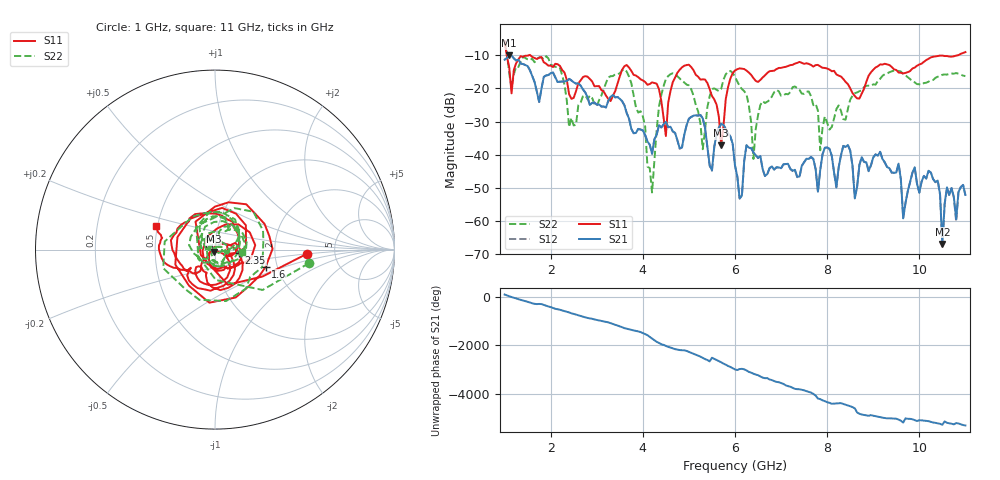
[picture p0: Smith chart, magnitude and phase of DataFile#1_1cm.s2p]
! MS46122B
! 1728301/71650013
! 6/21/2022 4:11:19 PM
! C:\USERS\MILLIWAVE\DESKTOP\XYSTAGE_PYTHON\DATA\IMAI\DATAFILE#1_1CM.S2P
! CHANNEL.1
! TR.MEASUREMENT
! CORRECTED.DATA
# GHZ S RI R 50.0
! FREQ.GHZ  S11RE  S11IM  S21RE  S21IM  S12RE  S12IM  S22RE  S22IM
!; PortSelection: Port_12
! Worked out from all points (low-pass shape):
!   201 points, 1 GHz to 11 GHz, reference 50 ohm
!   highest |S21| = -9.97 dB at 1.1 GHz (marker M1); lowest = -67.0 dB at 10.5 GHz (marker M2)
!   |S21| within 3 dB of the highest: start of sweep to 1.452 GHz
!   lowest |S11| = -37.2 dB at 5.7 GHz (marker M3), VSWR 1.03, Z = 49.3 - j1.15 ohm
!   |S11| at or under -10 dB: 1.046 GHz to 1.525 GHz (478.6 MHz wide, 37.2 % of centre); 1.56 GHz to 10.83 GHz (9.274 GHz wide, 150 % of centre)
!   |S22| runs from -51.4 to -5.5 dB; largest |S21 - S12| = 0.00082
!   S11 on the Smith chart (normalised r, x): 1 GHz: 3.08, -0.20; 1.6 GHz: 1.74, -0.36; 2.35 GHz: 1.31, -0.04; 11 GHz: 0.49, +0.15
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1  0.5114 -0.0238  0.00133 0.2714  0.00157 0.2717  0.5237 -0.0758
1.1  0.0715 -0.1959  0.2972 0.1114  0.2967 0.1118  0.00468 -0.1694
1.6  0.2831 -0.0943  -0.00262 0.1541  -0.00294 0.1544  0.2631 -0.0978
2.35  0.1333 -0.0167  -0.0232 0.1275  -0.0233 0.1275  0.063 -0.0173
2.7  0.1478 -0.0108  -0.019 -0.095  -0.0188 -0.095  0.0735 0.0196
3.65  0.2242 0.0248  -0.0239 0.0351  -0.0238 0.0352  0.1294 0.1239
4.2  0.0487 -0.1134  0.00146 0.0103  0.00141 0.0102  0.00206 0.00175
4.35  -0.0244 -0.0944  -0.00405 -0.0276  -0.00383 -0.0276  -0.0522 0.0107
4.5  0.000563 0.0191  -0.0233 0.021  -0.0232 0.0208  -0.0546 0.1281
5  0.0298 -0.2258  -0.0113 -0.0332  -0.0112 -0.0331  0.0724 -0.0842
5.3  -0.0511 -0.1275  0.035 0.00582  0.0347 0.00595  -0.00755 0.00946
5.5  -0.0563 -0.0526  0.00567 0.00125  0.00561 0.00123  -0.0391 0.0894
5.7  -0.00735 -0.0117  -0.0291 -0.00279  -0.029 -0.00279  0.0198 0.0967
6  0.0351 -0.1831  -0.00219 -0.00651  -0.00219 -0.00648  0.1417 -0.0471
6.4  -0.105 -0.0975  0.00289 0.0105  0.00282 0.0106  -0.00633 0.00586
6.6  -0.083 -0.1202  0.000624 -0.00603  0.000675 -0.006  0.0604 -0.0215
7.7  -0.1473 0.1545  0.00723 -0.00472  0.00726 -0.00463  -0.0274 0.0485
9.35  -0.1454 -0.1722  0.00457 0.00428  0.00464 0.00428  -0.0507 0.1682
10.4  -0.3075 -0.017  -0.00395 -0.000995  -0.00392 -0.00096  0.0961 0.1154
10.5  -0.3121 0.0242  -0.00032 0.000315  -0.00029 0.0003  0.1206 0.106
10.6  -0.3036 0.0503  -0.00254 -0.00198  -0.00254 -0.00193  0.1372 0.0852
11  -0.3283 0.1313  -0.000794 0.00235  -0.000805 0.0023  0.1529 -0.0128
